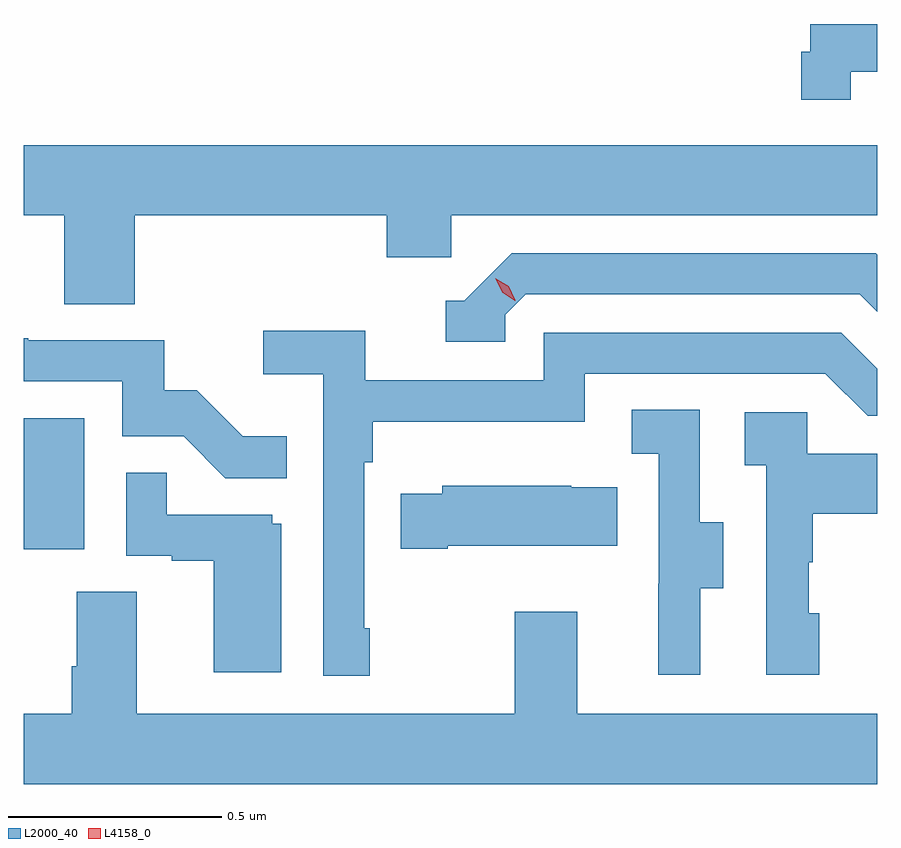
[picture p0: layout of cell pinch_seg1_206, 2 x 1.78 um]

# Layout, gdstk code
import gdstk
lib = gdstk.Library(unit=1e-6, precision=1e-09)
def R(c, l, rs):  # rectangles x0, y0, x1, y1
    for r in rs: c.add(gdstk.rectangle(r[:2], r[2:], *l))
def P(c, l, *ps):  # polygons
    for p in ps: c.add(gdstk.Polygon(p, *l))
L2000_40 = (2000, 40)
L4158_0 = (4158, 0)

pinch_seg1_206 = lib.new_cell('pinch_seg1_206')
R(pinch_seg1_206, L2000_40, [(1008.72,574.926,1008.862,575.233)])
P(pinch_seg1_206, L2000_40, [(1010.658,576.044),(1010.72,576.044),(1010.72,576.156),(1010.562,576.156),(1010.562,576.091),(1010.542,576.091),(1010.542,575.979),(1010.658,575.979)],
  [(1008.98,575.708),(1009.571,575.708),(1009.571,575.61),(1009.722,575.61),(1009.722,575.708),(1010.72,575.708),(1010.72,575.872),(1008.72,575.872),(1008.72,575.708),(1008.815,575.708),(1008.815,575.5),(1008.98,575.5)],
  [(1009.848,575.475),(1009.896,575.523),(1010.679,575.523),(1010.72,575.482),(1010.72,575.615),(1010.716,575.619),(1009.863,575.619),(1009.752,575.508),(1009.709,575.508),(1009.709,575.412),(1009.848,575.412)],
  [(1009.531,574.741),(1009.518,574.741),(1009.518,575.129),(1009.538,575.129),(1009.538,575.225),(1010.034,575.225),(1010.034,575.337),(1010.598,575.337),(1010.697,575.238),(1010.72,575.238),(1010.72,575.348),(1010.635,575.433),(1009.938,575.433),(1009.938,575.322),(1009.52,575.322),(1009.52,575.438),(1009.281,575.438),(1009.281,575.336),(1009.422,575.336),(1009.422,574.629),(1009.531,574.629)],
  [(1009.337,575.191),(1009.233,575.191),(1009.126,575.298),(1009.05,575.298),(1009.05,575.415),(1008.731,575.415),(1008.731,575.42),(1008.72,575.42),(1008.72,575.319),(1008.951,575.319),(1008.951,575.19),(1009.095,575.19),(1009.193,575.092),(1009.337,575.092)],
  [(1010.305,574.834),(1010.359,574.834),(1010.359,574.989),(1010.304,574.989),(1010.304,575.252),(1010.145,575.252),(1010.145,575.149),(1010.208,575.149),(1010.208,574.845),(1010.207,574.845),(1010.207,574.632),(1010.305,574.632)],
  [(1010.584,574.776),(1010.559,574.776),(1010.559,574.895),(1010.569,574.895),(1010.569,575.009),(1010.72,575.009),(1010.72,575.149),(1010.556,575.149),(1010.556,575.247),(1010.409,575.247),(1010.409,575.123),(1010.46,575.123),(1010.46,574.632),(1010.584,574.632)],
  [(1009.324,574.986),(1009.302,574.986),(1009.302,575.007),(1009.055,575.007),(1009.055,575.105),(1008.96,575.105),(1008.96,574.911),(1009.067,574.911),(1009.067,574.899),(1009.166,574.899),(1009.166,574.638),(1009.324,574.638)],
  [(1009.714,574.934),(1010.111,574.934),(1010.111,575.071),(1010.003,575.071),(1010.003,575.074),(1009.701,575.074),(1009.701,575.056),(1009.603,575.056),(1009.603,574.927),(1009.714,574.927)],
  [(1010.72,574.54),(1010.017,574.54),(1010.017,574.78),(1009.87,574.78),(1009.87,574.54),(1008.985,574.54),(1008.985,574.826),(1008.845,574.826),(1008.845,574.652),(1008.833,574.652),(1008.833,574.54),(1008.72,574.54),(1008.72,574.376),(1010.72,574.376)])
P(pinch_seg1_206, L4158_0, [(1009.871,575.508),(1009.841,575.528),(1009.825,575.561),(1009.825,575.561),(1009.825,575.561),(1009.856,575.542),(1009.872,575.509),(1009.872,575.508)])

lib.write_gds('pinch_seg1_206.gds')
